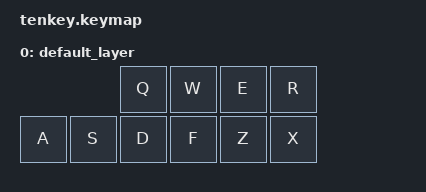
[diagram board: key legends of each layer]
#include <behaviors.dtsi>
#include <dt-bindings/zmk/keys.h>
#include <dt-bindings/zmk/bt.h>

/ {
    keymap {
        compatible = "zmk,keymap";

        default_layer {
            bindings = <
                                &kp Q   &kp W   &kp E   &kp R        
                &kp A   &kp S   &kp D   &kp F   &kp Z   &kp X            
            >;
        };
    };
};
